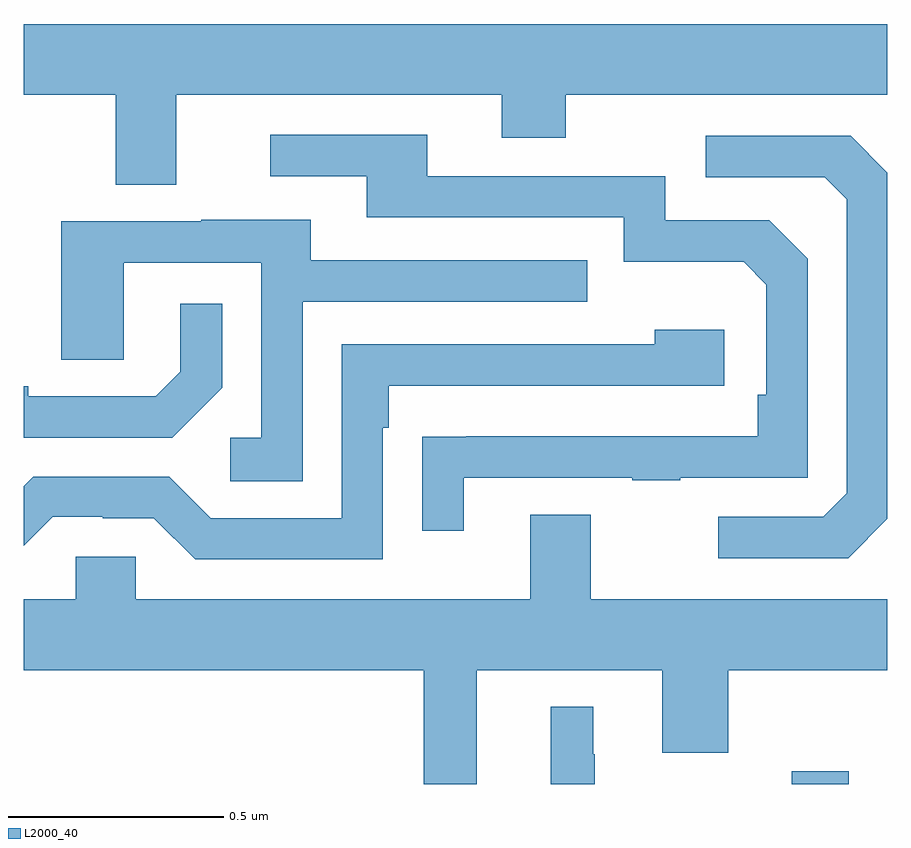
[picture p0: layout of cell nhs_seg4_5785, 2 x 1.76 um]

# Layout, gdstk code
import gdstk
lib = gdstk.Library(unit=1e-6, precision=1e-09)
def R(c, l, rs):  # rectangles x0, y0, x1, y1
    for r in rs: c.add(gdstk.rectangle(r[:2], r[2:], *l))
def P(c, l, *ps):  # polygons
    for p in ps: c.add(gdstk.Polygon(p, *l))
L2000_40 = (2000, 40)

nhs_seg4_5785 = lib.new_cell('nhs_seg4_5785')
R(nhs_seg4_5785, L2000_40, [(183.779,785.9,183.911,785.929)])
P(nhs_seg4_5785, L2000_40, [(182.353,787.496),(183.107,787.496),(183.107,787.397),(183.255,787.397),(183.255,787.496),(184,787.496),(184,787.66),(182,787.66),(182,787.496),(182.213,787.496),(182.213,787.288),(182.353,787.288)],
  [(183.019,786.609),(183.409,786.609),(183.409,786.604),(183.521,786.604),(183.521,786.609),(183.816,786.609),(183.816,787.116),(183.726,787.206),(183.486,787.206),(183.486,787.308),(182.935,787.308),(182.935,787.404),(182.571,787.404),(182.571,787.308),(182.795,787.308),(182.795,787.212),(183.39,787.212),(183.39,787.109),(183.667,787.109),(183.72,787.056),(183.72,786.802),(183.7,786.802),(183.7,786.705),(183.025,786.705),(183.025,786.704),(182.923,786.704),(182.923,786.486),(183.019,786.486)],
  [(184,786.514),(184,787.316),(183.915,787.401),(183.579,787.401),(183.579,787.305),(183.855,787.305),(183.906,787.254),(183.906,786.573),(183.852,786.519),(183.609,786.519),(183.609,786.423),(183.909,786.423)],
  [(182.646,787.017),(183.305,787.017),(183.305,787.113),(182.665,787.113),(182.665,787.207),(182.411,787.207),(182.411,787.203),(182.087,787.203),(182.087,786.883),(182.232,786.883),(182.232,787.107),(182.55,787.107),(182.55,786.702),(182.478,786.702),(182.478,786.601),(182.646,786.601)],
  [(182.46,786.818),(182.46,787.012),(182.363,787.012),(182.363,786.855),(182.306,786.798),(182.011,786.798),(182.011,786.821),(182,786.821),(182,786.702),(182.344,786.702)],
  [(182.832,786.725),(182.845,786.725),(182.845,786.822),(183.622,786.822),(183.622,786.952),(183.461,786.952),(183.461,786.918),(182.736,786.918),(182.736,786.516),(182.433,786.516),(182.337,786.612),(182.022,786.612),(182,786.59),(182,786.452),(182.067,786.519),(182.183,786.519),(182.183,786.516),(182.301,786.516),(182.397,786.42),(182.832,786.42)],
  [(183.313,786.523),(183.173,786.523),(183.173,786.328),(182.259,786.328),(182.259,786.426),(182.121,786.426),(182.121,786.328),(182,786.328),(182,786.164),(182.927,786.164),(182.927,785.9),(183.049,785.9),(183.049,786.164),(183.479,786.164),(183.479,785.972),(183.632,785.972),(183.632,786.164),(184,786.164),(184,786.328),(183.313,786.328)],
  [(183.323,785.969),(183.319,785.969),(183.319,786.079),(183.221,786.079),(183.221,785.9),(183.323,785.9)])

lib.write_gds('nhs_seg4_5785.gds')
